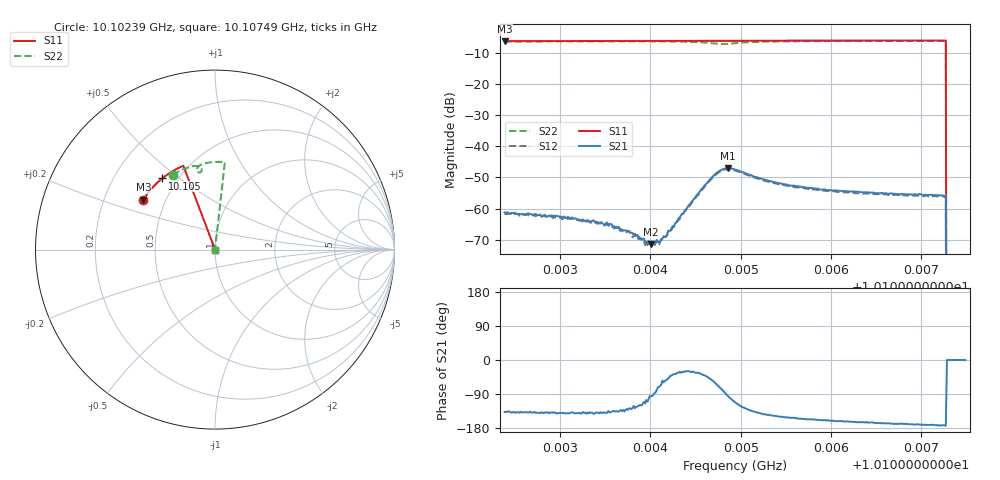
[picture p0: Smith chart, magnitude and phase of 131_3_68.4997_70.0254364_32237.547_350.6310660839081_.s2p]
#  HZ  S  RI  R  50.00
! Rohde & Schwarz Vector Network Analyzer
! Rohde-Schwarz,ZNB20-2Port,1311601062101988,3.16
! Created: UTC 3/20/2024, 4:54:23 PM
! freq[Hz]  re:S11  im:S11  re:S21  im:S21  re:S12  im:S12  re:S22  im:S22
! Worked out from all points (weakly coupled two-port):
!   401 points, 10.10239 GHz to 10.10749 GHz, reference 50 ohm
!   highest |S21| = -47.04 dB at 10.10486 GHz (marker M1); lowest = -71.3 dB at 10.10401 GHz (marker M2)
!   lowest |S11| = -6.3 dB at 10.10239 GHz (marker M3), VSWR 2.89, Z = 18.8 + j13.7 ohm
!   |S11| at or under -10 dB: 10.10727 GHz to end of sweep
!   |S22| runs from - to -6.2 dB; largest |S21 - S12| = 0.00044
!   S11 on the Smith chart (normalised r, x): 10.10239 GHz: 0.38, +0.27; 10.105 GHz: 0.41, +0.43; 10.10749 GHz: 1.00, +0.00
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1.0102388e10  -0.3987 0.2788  -0.000636 -0.00059  -0.000568 -0.000615  -0.2335 0.4183
1.0102961e10  -0.379 0.3078  -0.000602 -0.000483  -0.000496 -0.000523  -0.2004 0.4368
1.0103242e10  -0.3685 0.3212  -0.000509 -0.000413  -0.000448 -0.000446  -0.1835 0.4448
1.0103548e10  -0.3568 0.3358  -0.000426 -0.00038  -0.000345 -0.000385  -0.1641 0.4529
1.0103688e10  -0.3512 0.3419  -0.000313 -0.000312  -0.000287 -0.000352  -0.1547 0.4562
1.0103764e10  -0.3483 0.3455  -0.00026 -0.000337  -0.000251 -0.000364  -0.1497 0.458
1.0103943e10  -0.3407 0.3535  -0.000125 -0.000271  -8.38e-05 -0.000245  -0.1371 0.4618
1.0104007e10  -0.3381 0.3562  -2.68e-05 -0.00027  3.27e-05 -0.00028  -0.1324 0.4629
1.010407e10  -0.3355 0.359  5.43e-05 -0.000311  7.55e-05 -0.000293  -0.1275 0.4641
1.0104096e10  -0.3344 0.3602  9.55e-05 -0.000272  7.77e-05 -0.000248  -0.1254 0.4644
1.0104198e10  -0.33 0.3645  0.000293 -0.000334  0.000316 -0.000276  -0.1171 0.4656
1.0104682e10  -0.3083 0.3845  0.00191 -0.00256  0.00203 -0.00227  -0.0738 0.4448
1.0104771e10  -0.3043 0.3878  0.00117 -0.00392  0.00149 -0.00364  -0.0791 0.4323
1.0104861e10  -0.3002 0.3912  -0.000418 -0.00443  -4.92e-05 -0.00428  -0.0927 0.4311
1.0104937e10  -0.2967 0.3943  -0.00153 -0.00395  -0.00114 -0.00393  -0.1 0.4397
1.0105001e10  -0.2938 0.3967  -0.00209 -0.00338  -0.00168 -0.00338  -0.1005 0.4483
1.0105383e10  -0.2754 0.411  -0.00222 -0.00141  -0.00203 -0.00152  -0.0742 0.4747
1.0105791e10  -0.2551 0.4249  -0.00197 -0.000861  -0.00177 -0.00093  -0.044 0.4834
1.0106645e10  -0.2104 0.4511  -0.00168 -0.000385  -0.00159 -0.000513  0.0142 0.489
1.0107244e10  -0.1775 0.4663  -0.00159 -0.000226  -0.00154 -0.000357  0.0534 0.4879
1.0107308e10  0 0  0 0  0 0  0 0
1.0107486e10  0 0  0 0  0 0  0 0
